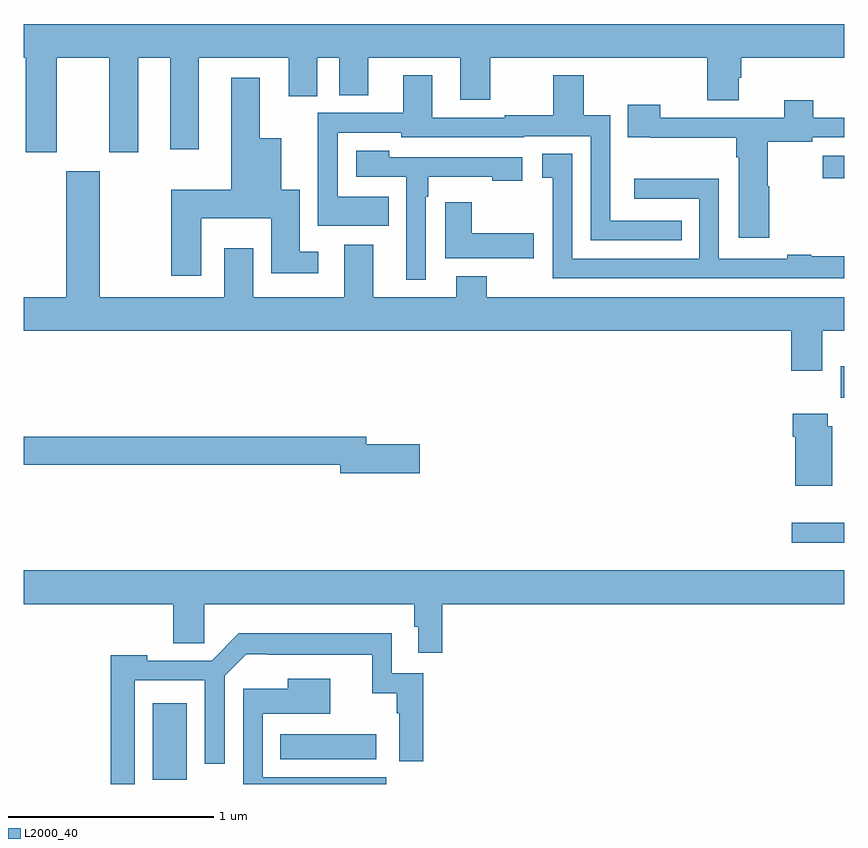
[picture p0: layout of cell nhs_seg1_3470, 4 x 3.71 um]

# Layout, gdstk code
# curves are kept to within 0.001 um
import gdstk
lib = gdstk.Library(unit=1e-6, precision=1e-09)
def R(c, l, rs):  # rectangles x0, y0, x1, y1
    for r in rs: c.add(gdstk.rectangle(r[:2], r[2:], *l))
def P(c, l, *ps):  # polygons
    for p in ps: c.add(gdstk.Polygon(p, *l))
L2000_40 = (2000, 40)

nhs_seg1_3470 = lib.new_cell('nhs_seg1_3470')
R(nhs_seg1_3470, L2000_40, [(299.63,540.22,299.794,540.592), (300.25,540.32,300.718,540.442), (302.745,541.376,303,541.473), (302.984,542.082,303,542.236), (302.895,543.153,303,543.261)])
P(nhs_seg1_3470, L2000_40, [(299.161,543.74),(299.417,543.74),(299.417,543.279),(299.557,543.279),(299.557,543.74),(299.714,543.74),(299.714,543.294),(299.854,543.294),(299.854,543.74),(300.293,543.74),(300.293,543.552),(300.432,543.552),(300.432,543.74),(300.539,543.74),(300.539,543.556),(300.679,543.556),(300.679,543.74),(301.127,543.74),(301.127,543.534),(301.275,543.534),(301.275,543.74),(302.333,543.74),(302.333,543.532),(302.485,543.532),(302.485,543.642),(302.498,543.642),(302.498,543.74),(303,543.74),(303,543.904),(299,543.904),(299,543.74),(299.009,543.74),(299.009,543.279),(299.161,543.279)],
  [(302.207,542.946),(301.86,542.946),(301.86,543.458),(301.729,543.458),(301.729,543.655),(301.582,543.655),(301.582,543.458),(301.344,543.458),(301.344,543.447),(300.991,543.447),(300.991,543.655),(300.851,543.655),(300.851,543.471),(300.434,543.471),(300.434,542.921),(300.779,542.921),(300.779,543.061),(300.531,543.061),(300.531,543.375),(300.84,543.375),(300.84,543.351),(301.44,543.351),(301.44,543.357),(301.764,543.357),(301.764,542.85),(302.207,542.85)],
  [(299.866,542.957),(300.206,542.957),(300.206,542.69),(300.436,542.69),(300.436,542.794),(300.346,542.794),(300.346,543.097),(300.256,543.097),(300.256,543.346),(300.151,543.346),(300.151,543.643),(300.011,543.643),(300.011,543.097),(299.719,543.097),(299.719,542.676),(299.866,542.676)],
  [(302.634,543.114),(302.626,543.114),(302.626,543.331),(302.844,543.331),(302.844,543.351),(303,543.351),(303,543.447),(302.848,543.447),(302.848,543.532),(302.708,543.532),(302.708,543.447),(302.102,543.447),(302.102,543.511),(301.945,543.511),(301.945,543.351),(302.053,543.351),(302.053,543.35),(302.474,543.35),(302.474,543.254),(302.486,543.254),(302.486,542.862),(302.634,542.862)],
  [(300.96,543.062),(300.973,543.062),(300.973,543.159),(301.284,543.159),(301.284,543.14),(301.429,543.14),(301.429,543.255),(300.782,543.255),(300.782,543.286),(300.621,543.286),(300.621,543.159),(300.864,543.159),(300.864,542.658),(300.96,542.658)],
  [(303,542.773),(302.838,542.773),(302.838,542.78),(302.722,542.78),(302.722,542.76),(302.388,542.76),(302.388,543.149),(301.977,543.149),(301.977,543.051),(302.292,543.051),(302.292,542.76),(301.674,542.76),(301.674,543.272),(301.527,543.272),(301.527,543.154),(301.578,543.154),(301.578,542.664),(303,542.664)],
  [(302.893,542.408),(303,542.408),(303,542.572),(301.257,542.572),(301.257,542.674),(301.109,542.674),(301.109,542.572),(300.703,542.572),(300.703,542.827),(300.563,542.827),(300.563,542.572),(300.118,542.572),(300.118,542.812),(299.978,542.812),(299.978,542.572),(299.371,542.572),(299.371,543.187),(299.207,543.187),(299.207,542.572),(299,542.572),(299,542.408),(302.741,542.408),(302.741,542.214),(302.893,542.214)],
  [(301.486,542.884),(301.185,542.884),(301.185,543.034),(301.055,543.034),(301.055,542.762),(301.486,542.762)],
  [(302.941,541.944),(302.92,541.944),(302.92,542.005),(302.75,542.005),(302.75,541.892),(302.762,541.892),(302.762,541.652),(302.941,541.652)],
  [(300.931,541.856),(300.67,541.856),(300.67,541.892),(299,541.892),(299,541.756),(300.542,541.756),(300.542,541.714),(300.931,541.714)],
  [(301.04,541.076),(303,541.076),(303,541.24),(299,541.24),(299,541.076),(299.729,541.076),(299.729,540.886),(299.879,540.886),(299.879,541.076),(300.904,541.076),(300.904,540.966),(300.924,540.966),(300.924,540.84),(301.04,540.84)],
  [(299.541,540.705),(299.883,540.705),(299.883,540.297),(299.979,540.297),(299.979,540.726),(300.084,540.831),(300.698,540.83),(300.698,540.641),(300.819,540.641),(300.819,540.545),(300.831,540.545),(300.831,540.309),(300.947,540.309),(300.947,540.738),(300.795,540.738),(300.795,540.934),(300.049,540.934),(299.916,540.801),(299.601,540.801),(299.601,540.826),(299.425,540.826),(299.425,540.199),(299.541,540.199)],
  [(300.766,540.231),(300.165,540.231),(300.165,540.542),(300.493,540.542),(300.493,540.712),(300.287,540.712),(300.287,540.664),(300.069,540.664),(300.069,540.199),(300.766,540.199)])

lib.write_gds('nhs_seg1_3470.gds')
